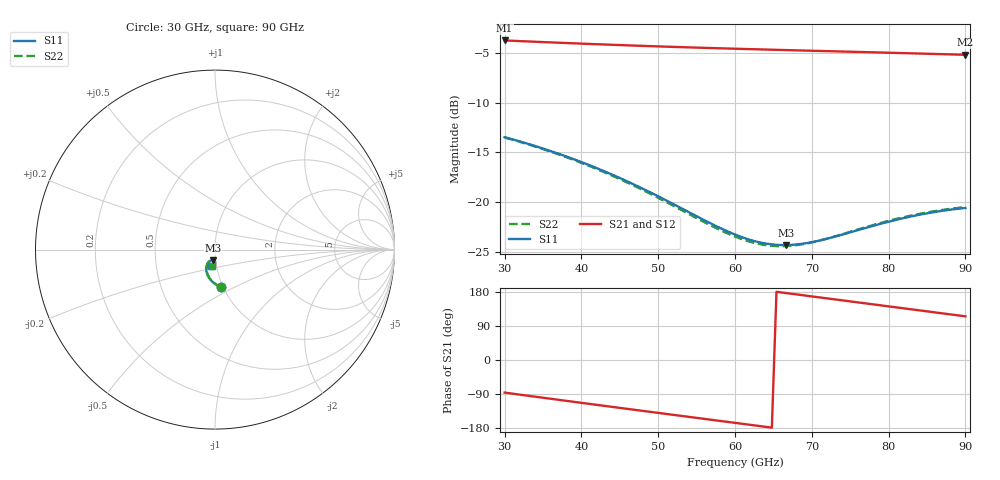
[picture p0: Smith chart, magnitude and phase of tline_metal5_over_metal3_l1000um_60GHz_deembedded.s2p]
! Created with skrf 2.2.0 (http://scikit-rf.org).
# GHz S DB R 50.0
! Port[1] = P1
! Port[2] = P2
!freq dBS11 angS11 dBS21 angS21 dBS12 angS12 dBS22 angS22
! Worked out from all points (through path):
!   101 points, 30 GHz to 90 GHz, reference 50 ohm
!   highest |S21| = -3.74 dB at 30 GHz (marker M1); lowest = -5.2 dB at 90 GHz (marker M2)
!   group delay of S21, straight-line fit = 7.33 ps
!   lowest |S11| = -24.3 dB at 66.6 GHz (marker M3), VSWR 1.13, Z = 48.5 - j5.8 ohm
!   |S11| at or under -10 dB: start of sweep to end of sweep
!   |S22| runs from -24.4 to -13.5 dB; largest |S21 - S12| = 6.8e-14
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30  -13.47 -80.7  -3.74 -86.0  -3.74 -86.0  -13.51 -80.6
32.4  -13.99 -86.3  -3.82 -92.5  -3.82 -92.5  -14.04 -86.3
34.8  -14.56 -91.7  -3.89 -99.1  -3.89 -99.1  -14.62 -91.6
37.2  -15.18 -96.8  -3.97 -105.5  -3.97 -105.5  -15.25 -96.7
40.2  -16.04 -102.7  -4.06 -113.6  -4.06 -113.6  -16.12 -102.6
42.6  -16.78 -106.9  -4.13 -120.0  -4.13 -120.0  -16.87 -106.8
45.6  -17.79 -111.6  -4.22 -127.9  -4.22 -127.9  -17.90 -111.3
50.4  -19.58 -116.8  -4.35 -140.6  -4.35 -140.6  -19.73 -116.4
52.8  -20.53 -118.0  -4.40 -146.9  -4.40 -146.9  -20.71 -117.5
55.2  -21.50 -118.1  -4.46 -153.3  -4.46 -153.3  -21.69 -117.3
57.6  -22.44 -116.8  -4.52 -159.6  -4.52 -159.6  -22.64 -115.8
60  -23.27 -114.0  -4.57 -165.9  -4.57 -165.9  -23.47 -112.7
61.8  -23.76 -111.1  -4.61 -170.6  -4.61 -170.6  -23.95 -109.5
63.6  -24.12 -107.6  -4.64 -175.3  -4.64 -175.3  -24.28 -105.7
66.6  -24.33 -101.3  -4.71 176.8  -4.71 176.8  -24.43 -99.2
68.4  -24.23 -97.9  -4.74 172.1  -4.74 172.1  -24.29 -95.7
70.2  -24.00 -95.1  -4.78 167.3  -4.78 167.3  -24.02 -92.9
75  -23.05 -91.1  -4.87 154.7  -4.87 154.7  -22.99 -89.2
77.4  -22.52 -91.0  -4.92 148.4  -4.92 148.4  -22.45 -89.3
80.4  -21.90 -92.2  -4.98 140.5  -4.98 140.5  -21.82 -90.7
85.2  -21.11 -96.4  -5.08 127.8  -5.08 127.8  -21.02 -95.2
90  -20.59 -102.2  -5.18 115.2  -5.18 115.2  -20.51 -101.2
